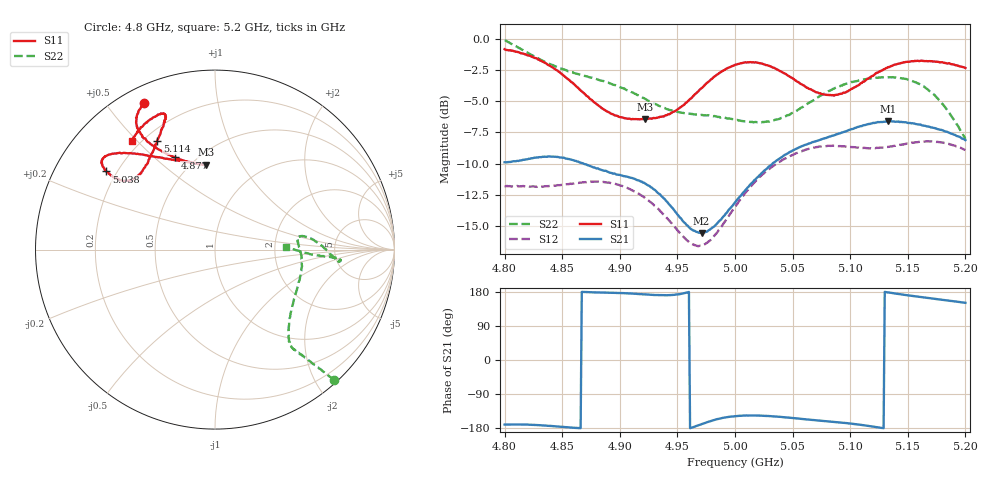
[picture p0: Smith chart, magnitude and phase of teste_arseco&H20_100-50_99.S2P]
! Network Analyzer HP8722D
! Hewlett-Packard
! Data name: Linha & Wilkinson
! Saver's name: Rodrigo Anjos
! Comments: Teste da utilização de aquisição
! continua pelo VNA HP8722D
! Time and date: 6/5/2025 13:23
!  Frequency  S11  S21  S12  S22
# HZ  S  MA R 50
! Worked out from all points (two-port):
!   401 points, 4.8 GHz to 5.2 GHz, reference 50 ohm
!   highest |S21| = -6.61 dB at 5.133 GHz (marker M1); lowest = -15.5 dB at 4.971 GHz (marker M2)
!   |S21| within 3 dB of the highest: 4.822 GHz to 4.854 GHz (31.82 MHz wide, 0.658 % of centre); 5.039 GHz to end of sweep
!   lowest |S11| = -6.5 dB at 4.922 GHz (marker M3), VSWR 2.81, Z = 29.2 + j35.6 ohm
!   |S11| at or under -10 dB: nowhere
!   |S22| runs from -8.0 to -0.1 dB; largest |S21 - S12| = 0.83
!   S11 on the Smith chart (normalised r, x): 4.8 GHz: 0.07, +0.62; 4.877 GHz: 0.39, +0.58; 5.038 GHz: 0.16, +0.31; 5.114 GHz: 0.25, +0.57; 5.2 GHz: 0.17, +0.48
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4.8e9  0.9071 115.9  0.3203 -170.5  0.2569 -86.1  0.9834 -47.5
4.834e9  0.8057 122.6  0.3365 -172.8  0.2562 -77.0  0.8124 -49.7
4.847e9  0.7368 122.7  0.3353 -175.6  0.2592 -72.7  0.7666 -50.6
4.867e9  0.6141 117.9  0.3179 179.7  0.2655 -67.4  0.715 -51.5
4.877e9  0.56 113.6  0.3055 178.5  0.2679 -66.3  0.6944 -51.9
4.903e9  0.4827 100.0  0.2821 176.4  0.2564 -66.9  0.6327 -49.6
4.922e9  0.4752 96.1  0.2632 173.2  0.2305 -69.0  0.5747 -43.6
4.934e9  0.4844 99.0  0.2396 171.0  0.2073 -69.5  0.5383 -37.5
4.96e9  0.5674 117.2  0.176 179.5  0.1537 -57.9  0.5005 -20.5
4.971e9  0.6338 124.6  0.1671 -169.4  0.1486 -45.3  0.4953 -13.9
4.982e9  0.7044 130.5  0.1773 -158.2  0.1627 -33.2  0.4905 -8.2
5e9  0.7852 137.3  0.221 -148.3  0.2126 -21.4  0.4731 -0.5
5.019e9  0.8027 141.7  0.2777 -146.6  0.2722 -18.3  0.4631 5.8
5.038e9  0.7462 144.3  0.3298 -149.6  0.3208 -18.6  0.4767 8.9
5.067e9  0.6223 141.9  0.3852 -158.0  0.3655 -20.6  0.5623 4.6
5.088e9  0.5958 132.9  0.4142 -163.9  0.3721 -23.8  0.638 -1.7
5.114e9  0.6855 117.9  0.4527 -173.2  0.3647 -26.6  0.6891 -5.4
5.133e9  0.7694 111.4  0.4674 178.3  0.369 -28.6  0.7003 -4.8
5.134e9  0.77 111.2  0.4655 177.8  0.3693 -28.8  0.7005 -4.8
5.162e9  0.8167 112.9  0.4501 165.8  0.3873 -35.4  0.6525 -3.8
5.18e9  0.8038 118.8  0.4301 158.8  0.3842 -41.0  0.5487 -2.9
5.2e9  0.763 127.4  0.3925 150.9  0.3586 -46.3  0.3972 2.3
